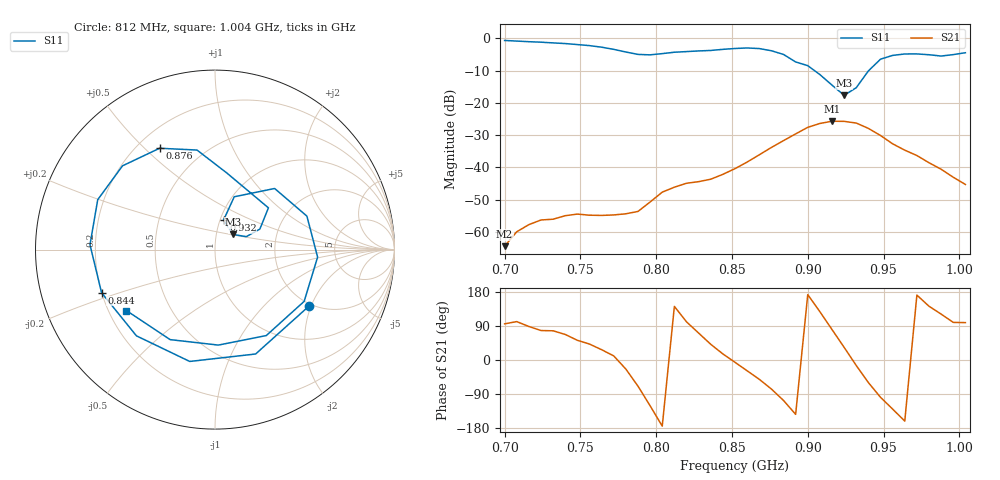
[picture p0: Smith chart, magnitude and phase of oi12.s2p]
# Hz S RI R 50
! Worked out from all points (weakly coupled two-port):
!   39 points, 700 MHz to 1.004 GHz, reference 50 ohm
!   highest |S21| = -25.67 dB at 916 MHz (marker M1); lowest = -64.4 dB at 700 MHz (marker M2)
!   lowest |S11| = -17.6 dB at 924 MHz (marker M3), VSWR 1.30, Z = 60.2 + j10.4 ohm
!   |S11| at or under -10 dB: 904.5 MHz to 940.2 MHz (35.7 MHz wide, 3.87 % of centre)
!   S12 and S22 are empty: the file has one direction only
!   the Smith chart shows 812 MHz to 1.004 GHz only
!   S11 on the Smith chart (normalised r, x): 812 MHz: 1.90, -1.92; 844 MHz: 0.20, -0.18; 876 MHz: 0.29, +0.56; 932 MHz: 1.04, +0.35; 1.004 GHz: 0.27, -0.29
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7e8  0.7663 0.524  -5.71e-05 0.000601  0 0  0 0
7.24e8  0.8332 -0.2604  0.000326 0.0015  0 0  0 0
7.4e8  0.4427 -0.7039  0.000688 0.00165  0 0  0 0
7.56e8  -0.1964 -0.7467  0.00135 0.00122  0 0  0 0
7.72e8  -0.6501 -0.1841  0.00181 0.000345  0 0  0 0
7.8e8  -0.5685 0.2337  0.00175 -0.000778  0 0  0 0
7.88e8  -0.209 0.5239  0.000744 -0.00195  0 0  0 0
7.96e8  0.2694 0.4858  -0.0015 -0.00251  0 0  0 0
8.04e8  0.5671 0.1237  -0.00413 -0.000394  0 0  0 0
8.12e8  0.5212 -0.317  -0.00387 0.00308  0 0  0 0
8.28e8  -0.1407 -0.6232  0.00195 0.0057  0 0  0 0
8.44e8  -0.632 -0.2402  0.00752 0.00217  0 0  0 0
8.52e8  -0.6965 0.027  0.00953 -0.00102  0 0  0 0
8.76e8  -0.3085 0.5647  0.00474 -0.0199  0 0  0 0
9e8  0.2976 0.2327  -0.0415 0.00543  0 0  0 0
9.08e8  0.25 0.1144  -0.0292 0.0382  0 0  0 0
9.16e8  0.1743 0.0722  0.00869 0.0513  0 0  0 0
9.24e8  0.1005 0.0846  0.0432 0.0285  0 0  0 0
9.32e8  0.048 0.1652  0.0472 -0.0122  0 0  0 0
9.56e8  0.512 0.1865  -0.0148 -0.0179  0 0  0 0
9.8e8  0.2857 -0.4789  -0.00931 0.00731  0 0  0 0
1.004e9  -0.4933 -0.3398  -0.000821 0.00539  0 0  0 0
